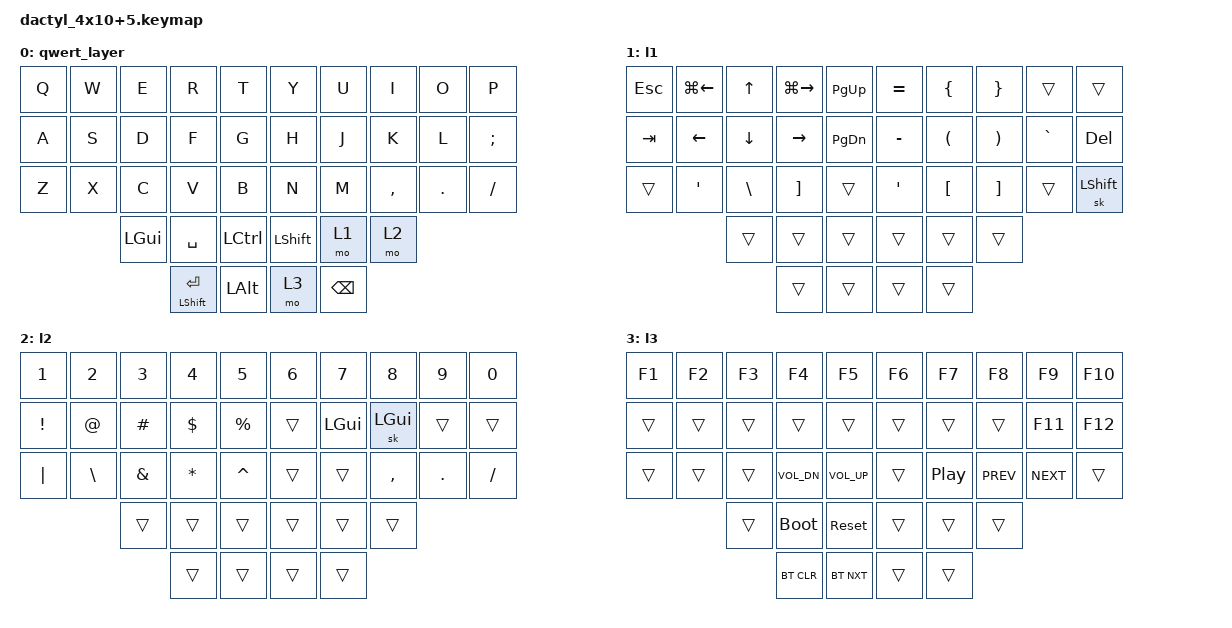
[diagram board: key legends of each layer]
#include <behaviors.dtsi>
#include <dt-bindings/zmk/bt.h>
#include <dt-bindings/zmk/keys.h>

/ {
	keymap {
		compatible = "zmk,keymap";

		qwert_layer {
			bindings = <
                        &kp Q   &kp W   &kp E     &kp R         &kp T              &kp Y     &kp U    &kp I        &kp O      &kp P
                        &kp A   &kp S   &kp D     &kp F         &kp G              &kp H     &kp J    &kp K        &kp L      &kp SEMI
                        &kp Z   &kp X   &kp C     &kp V         &kp B              &kp N     &kp M    &kp COMMA    &kp DOT    &kp FSLH
                                        &kp LGUI  &kp SPACE     &kp LCTRL          &kp LSHFT &mo 1    &mo 2
                                                  &mt LSHFT RET &kp LALT           &mo 3     &kp BSPC
                        >;
		};

		l1 {
			bindings = <
                        &kp ESC  &kp LG(LEFT) &kp UP    &kp LG(RIGHT)  &kp PG_UP            &kp EQUAL  &kp LBRC  &kp RBRC  &trans     &trans
                        &kp TAB  &kp LEFT     &kp DOWN  &kp RIGHT      &kp PAGE_DOWN        &kp MINUS  &kp LPAR  &kp RPAR  &kp GRAVE  &kp DEL
                        &trans   &kp SQT      &kp BSLH  &kp RBKT       &trans               &kp SQT    &kp LBKT  &kp RBKT  &trans     &sk LSHFT
                                              &trans    &trans         &trans               &trans     &trans    &trans
                                                        &trans         &trans               &trans     &trans
                        >;
                };

		l2 {
			bindings = <
                        &kp N1     &kp N2    &kp N3    &kp N4     &kp N5            &kp N6    &kp N7    &kp N8      &kp N9      &kp N0
                        &kp EXCL   &kp AT    &kp HASH  &kp DLLR   &kp PRCNT         &trans   &kp LGUI  &sk LGUI    &trans      &trans
                        &kp PIPE   &kp BSLH  &kp AMPS  &kp STAR   &kp CARET         &trans   &trans    &kp COMMA   &kp DOT     &kp FSLH
                                             &trans    &trans     &trans            &trans   &trans    &trans
                                                       &trans     &trans            &trans   &trans
                        >;
                };

                l3 {
			bindings = <
                        &kp F1   &kp F2  &kp F3  &kp F4        &kp F5               &kp F6     &kp F7   &kp F8      &kp F9      &kp F10
                        &trans   &trans  &trans  &trans        &trans               &trans     &trans   &trans      &kp F11     &kp F12
                        &trans   &trans  &trans  &kp C_VOL_DN  &kp C_VOL_UP         &trans     &kp C_PP &kp C_PREV  &kp C_NEXT  &trans
                                         &trans  &bootloader   &sys_reset           &trans     &trans   &trans
                                                 &bt BT_CLR    &bt BT_NXT           &trans     &trans
                        >;
                };
        };
};
